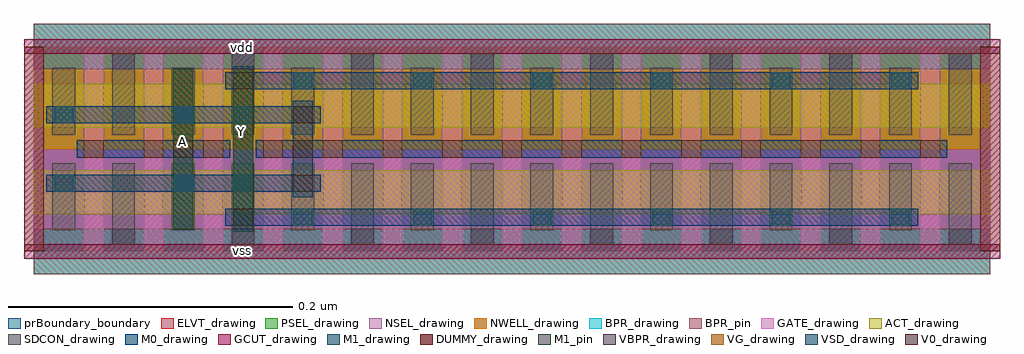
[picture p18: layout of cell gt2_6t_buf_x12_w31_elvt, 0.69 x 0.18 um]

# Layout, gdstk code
import gdstk
lib = gdstk.Library(unit=1e-6, precision=5e-10)
def R(c, l, rs):  # rectangles x0, y0, x1, y1
    for r in rs: c.add(gdstk.rectangle(r[:2], r[2:], *l))
def A(c, l, x, y, w, h, nx, ny, dx, dy):  # array of equal rectangles
    R(c, l, [(x+i*dx, y+j*dy, x+i*dx+w, y+j*dy+h) for i in range(nx) for j in range(ny)])
NWELL_drawing = (1, 0)
ACT_drawing = (2, 0)
GATE_drawing = (3, 0)
DUMMY_drawing = (4, 0)
GCUT_drawing = (5, 0)
NSEL_drawing = (6, 0)
PSEL_drawing = (7, 0)
BPR_drawing = (8, 0)
BPR_pin = (8, 251)
VBPR_drawing = (9, 0)
SDCON_drawing = (10, 0)
VSD_drawing = (11, 0)
VG_drawing = (12, 0)
M0_drawing = (20, 0)
V0_drawing = (22, 0)
M1_drawing = (25, 0)
M1_pin = (25, 251)
ELVT_drawing = (94, 0)
prBoundary_boundary = (235, 250)

gt2_6t_buf_x12_w31_elvt = lib.new_cell('gt2_6t_buf_x12_w31_elvt')
R(gt2_6t_buf_x12_w31_elvt, NWELL_drawing, [(0,0.072,0.672,0.144)])
R(gt2_6t_buf_x12_w31_elvt, ACT_drawing, [(0,0.026,0.672,0.057), (0,0.087,0.672,0.118)])
A(gt2_6t_buf_x12_w31_elvt, GATE_drawing, -0.007, 0, 0.014, 0.144, 10, 1, 0.042, 0)
A(gt2_6t_buf_x12_w31_elvt, GATE_drawing, 0.371, 0, 0.014, 0.144, 3, 1, 0.042, 0)
A(gt2_6t_buf_x12_w31_elvt, GATE_drawing, 0.455, 0, 0.014, 0.144, 3, 1, 0.042, 0)
A(gt2_6t_buf_x12_w31_elvt, GATE_drawing, 0.539, 0, 0.014, 0.144, 3, 1, 0.042, 0)
R(gt2_6t_buf_x12_w31_elvt, GATE_drawing, [(0.623,0,0.637,0.144), (0.665,0,0.679,0.144)])
R(gt2_6t_buf_x12_w31_elvt, DUMMY_drawing, [(-0.007,0,0.007,0.144), (0.665,0,0.679,0.144)])
R(gt2_6t_buf_x12_w31_elvt, GCUT_drawing, [(-0.007,-0.005,0.679,0.005), (-0.007,0.139,0.679,0.149)])
R(gt2_6t_buf_x12_w31_elvt, NSEL_drawing, [(0,0,0.672,0.072)])
R(gt2_6t_buf_x12_w31_elvt, PSEL_drawing, [(0,0.072,0.672,0.144)])
R(gt2_6t_buf_x12_w31_elvt, BPR_drawing, [(0,-0.016,0.672,0.016), (0,0.128,0.672,0.16)])
R(gt2_6t_buf_x12_w31_elvt, BPR_pin, [(0,-0.016,0.672,0.016), (0,0.128,0.672,0.16)])
A(gt2_6t_buf_x12_w31_elvt, VBPR_drawing, 0.055, 0.005, 0.016, 0.011, 8, 2, 0.084, 0.123)
A(gt2_6t_buf_x12_w31_elvt, SDCON_drawing, 0.055, 0.005, 0.016, 0.057, 8, 2, 0.084, 0.077)
A(gt2_6t_buf_x12_w31_elvt, SDCON_drawing, 0.013, 0.015, 0.016, 0.047, 8, 2, 0.084, 0.067)
A(gt2_6t_buf_x12_w31_elvt, VSD_drawing, 0.1825, 0.018, 0.013, 0.012, 6, 2, 0.084, 0.096)
R(gt2_6t_buf_x12_w31_elvt, VSD_drawing, [(0.0145,0.042,0.0275,0.054), (0.0985,0.042,0.1115,0.054), (0.0145,0.09,0.0275,0.102), (0.0985,0.09,0.1115,0.102)])
A(gt2_6t_buf_x12_w31_elvt, VG_drawing, 0.035, 0.066, 0.014, 0.012, 15, 1, 0.042, 0)
R(gt2_6t_buf_x12_w31_elvt, M0_drawing, [(0.1345,0.018,0.6215,0.03), (0.0085,0.042,0.2015,0.054), (0.03,0.066,0.138,0.078), (0.156,0.066,0.642,0.078), (0.0085,0.09,0.2015,0.102), (0.1345,0.114,0.6215,0.126)])
A(gt2_6t_buf_x12_w31_elvt, V0_drawing, 0.182, 0.042, 0.014, 0.012, 1, 3, 0, 0.024)
R(gt2_6t_buf_x12_w31_elvt, V0_drawing, [(0.14,0.018,0.154,0.03), (0.098,0.066,0.112,0.078), (0.14,0.114,0.154,0.126)])
R(gt2_6t_buf_x12_w31_elvt, M1_drawing, [(0.14,0.014,0.154,0.13), (0.098,0.0155,0.112,0.1285), (0.182,0.038,0.196,0.106)])
R(gt2_6t_buf_x12_w31_elvt, M1_pin, [(0.14,0.014,0.154,0.13), (0.098,0.0155,0.112,0.1285)])
R(gt2_6t_buf_x12_w31_elvt, ELVT_drawing, [(0,0,0.672,0.144)])
R(gt2_6t_buf_x12_w31_elvt, prBoundary_boundary, [(0,0,0.672,0.144)])
gt2_6t_buf_x12_w31_elvt.add(gdstk.Label('vdd', (0.1465,0.1435), layer=8, texttype=251))
gt2_6t_buf_x12_w31_elvt.add(gdstk.Label('vss', (0.1465,0.0005), layer=8, texttype=251))
gt2_6t_buf_x12_w31_elvt.add(gdstk.Label('Y', (0.146,0.084), layer=25, texttype=251))
gt2_6t_buf_x12_w31_elvt.add(gdstk.Label('A', (0.1045,0.0775), layer=25, texttype=251))

lib.write_gds('gt2_6t_buf_x12_w31_elvt.gds')
